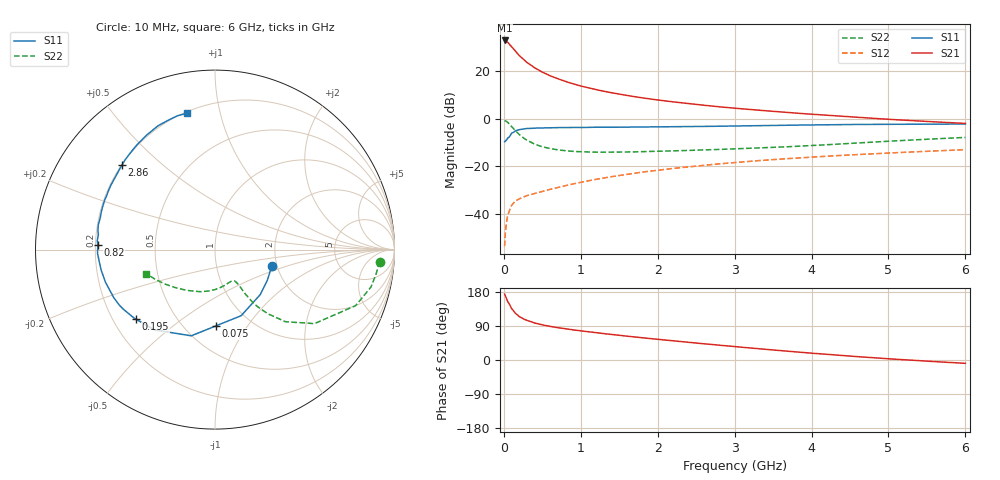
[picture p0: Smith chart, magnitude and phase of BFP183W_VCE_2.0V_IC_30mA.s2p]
! Infineon Technologies  Discrete & RF Semiconductors
! BFP183W
! VCE = 2.0 V,  IC =  30 mA
! Common Emitter S-Parameters:  Jan 2016
# GHz  S  MA  R  50
!  f  S11  S21  S12  S22
! GHz  MAG  ANG  MAG  ANG  MAG  ANG  MAG  ANG
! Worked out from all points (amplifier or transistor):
!   210 points, 10 MHz to 6 GHz, reference 50 ohm
!   highest |S21| = 32.9 dB at 10 MHz (marker M1)
!   |S21| within 3 dB of that: start of sweep to 111.7 MHz
!   unconditionally stable (mu >= 1): 580.1 MHz to 5.472 GHz
!   at 185 MHz: K = 0.49, MSG = 30.6 dB, |S12| = -33.9 dB
!   at 1.52 GHz: K = 1.25, MAG = 14.0 dB, |S12| = -23.7 dB
!   at 6 GHz: K = 0.99, MSG = 5.5 dB, |S12| = -13.0 dB
!   S11 on the Smith chart (normalised r, x): 10 MHz: 1.88, -0.38; 75 MHz: 0.70, -0.73; 195 MHz: 0.30, -0.35; 820 MHz: 0.21, +0.02; 2.86 GHz: 0.20, +0.37; 6 GHz: 0.21, +0.80
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0.01  0.33 -15.7  44.32 173.9  0.0021 88.6  0.9202 -4.2
0.02  0.3382 -30.6  43.89 169.4  0.004 81.7  0.9067 -9.0
0.03  0.3555 -44.8  43.31 164.3  0.0059 75.3  0.8936 -13.5
0.05  0.396 -68.4  40.69 154.5  0.0092 68.9  0.8437 -21.7
0.075  0.4244 -89.1  36.4 146.2  0.012 61.7  0.7611 -28.4
0.1  0.4983 -105.4  33.06 135.9  0.015 57.3  0.6914 -36.6
0.15  0.56 -127.0  26.37 123.1  0.0188 49.8  0.5611 -45.7
0.195  0.5864 -138.6  21.89 115.7  0.0205 47.5  0.4764 -49.8
0.24  0.6087 -146.8  18.63 110.2  0.0221 46.6  0.4142 -52.5
0.3  0.6244 -154.6  15.28 104.3  0.0243 46.0  0.3534 -54.6
0.4  0.6369 -163.5  11.8 97.5  0.0269 48.1  0.293 -55.8
0.5  0.6447 -170.0  9.575 92.6  0.0297 50.5  0.2574 -55.9
0.6  0.6486 -174.5  8.037 88.6  0.0328 52.0  0.2364 -56.1
0.82  0.6542 177.8  5.952 81.8  0.0401 56.0  0.2115 -57.4
1.02  0.6561 172.4  4.801 76.5  0.0469 58.0  0.2024 -59.4
1.4  0.6637 164.1  3.524 67.4  0.0607 59.8  0.1991 -65.2
2.02  0.6772 151.8  2.464 54.2  0.0838 59.3  0.2078 -77.2
2.86  0.7006 137.6  1.75 38.0  0.1152 55.4  0.2286 -95.8
3.1  0.7101 133.8  1.618 33.6  0.1241 53.8  0.2364 -101.6
4.1  0.7455 119.6  1.217 16.6  0.1598 47.2  0.2793 -126.4
5.1  0.7681 108.8  0.955 2.0  0.1939 40.2  0.3443 -147.1
6  0.7761 101.4  0.799 -8.8  0.2241 34.1  0.4057 -160.7
